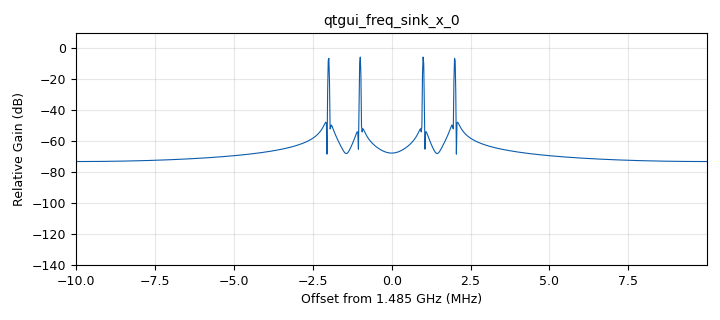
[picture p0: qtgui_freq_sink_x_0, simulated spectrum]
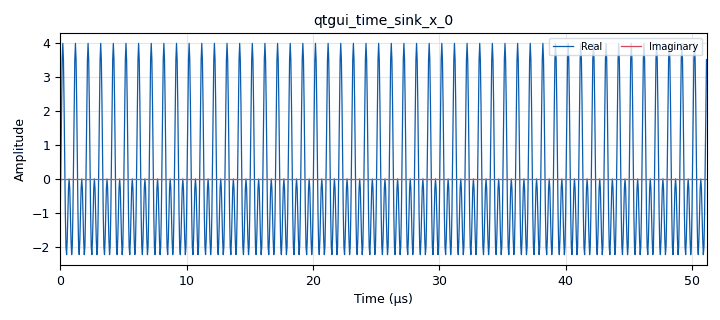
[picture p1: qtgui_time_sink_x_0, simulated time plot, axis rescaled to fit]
options:
  parameters:
    generate_options: qt_gui
    id: transmit_experiment_data
    output_language: python
    title: transmit_experiment_data
  states: {}

blocks:
- name: amp
  id: variable_qtgui_range
  parameters:
    label: Amplitude
    orient: Qt.Horizontal
    start: '0'
    step: '100e-3'
    stop: '1'
    value: '1'
  states: {}
- name: freq
  id: variable_qtgui_range
  parameters:
    label: Frequency
    orient: Qt.Horizontal
    start: '0'
    step: 500e3
    stop: 30e6
    value: 1e6
  states: {}
- name: gain
  id: variable_qtgui_range
  parameters:
    label: gain (dB)
    orient: Qt.Horizontal
    start: '0'
    step: '1'
    stop: '100'
    value: '40'
  states: {}
- name: samp_rate
  id: variable
  parameters:
    value: 20e6
  states: {}
- name: analog_sig_source_x_0
  id: analog_sig_source_x
  parameters:
    amp: amp
    freq: freq
    offset: '0'
    phase: '0'
    samp_rate: samp_rate
    type: complex
    waveform: analog.GR_COS_WAVE
  states: {}
- name: analog_sig_source_x_0_0
  id: analog_sig_source_x
  parameters:
    amp: amp
    freq: 2e6
    offset: '0'
    phase: '0'
    samp_rate: samp_rate
    type: complex
    waveform: analog.GR_COS_WAVE
  states: {}
- name: analog_sig_source_x_0_0_0
  id: analog_sig_source_x
  parameters:
    amp: amp
    freq: '-2e6'
    offset: '0'
    phase: '0'
    samp_rate: samp_rate
    type: complex
    waveform: analog.GR_COS_WAVE
  states: {}
- name: analog_sig_source_x_0_1
  id: analog_sig_source_x
  parameters:
    amp: amp
    freq: '-1e6'
    offset: '0'
    phase: '0'
    samp_rate: samp_rate
    type: complex
    waveform: analog.GR_COS_WAVE
  states: {}
- name: blocks_add_xx_0
  id: blocks_add_xx
  parameters:
    num_inputs: '4'
    type: complex
  states: {}
- name: blocks_throttle_0
  id: blocks_throttle
  parameters:
    samples_per_second: samp_rate
    type: complex
  states: {}
- name: qtgui_freq_sink_x_0
  id: qtgui_freq_sink_x
  parameters:
    bw: samp_rate
    fc: 1485e6
    fftsize: '1024'
    grid: 'True'
    type: complex
    wintype: firdes.WIN_HAMMING
  states: {}
- name: qtgui_time_sink_x_0
  id: qtgui_time_sink_x
  parameters:
    grid: 'True'
    label1: Real
    label2: Imaginary
    size: '1024'
    srate: samp_rate
    type: complex
  states: {}
- name: uhd_usrp_sink_0
  id: uhd_usrp_sink
  parameters:
    ant0: TX/RX
    center_freq0: 1485e6
    dev_args: '""'
    gain0: gain
    len_tag_name: ''
    norm_gain0: 'False'
    samp_rate: samp_rate
    sync: pc_clock
    type: fc32
  states: {}

connections:
- [analog_sig_source_x_0, '0', blocks_add_xx_0, '0']
- [analog_sig_source_x_0_0, '0', blocks_add_xx_0, '1']
- [analog_sig_source_x_0_0_0, '0', blocks_add_xx_0, '3']
- [analog_sig_source_x_0_1, '0', blocks_add_xx_0, '2']
- [blocks_add_xx_0, '0', blocks_throttle_0, '0']
- [blocks_add_xx_0, '0', uhd_usrp_sink_0, '0']
- [blocks_throttle_0, '0', qtgui_freq_sink_x_0, '0']
- [blocks_throttle_0, '0', qtgui_time_sink_x_0, '0']

metadata:
  file_format: 1
